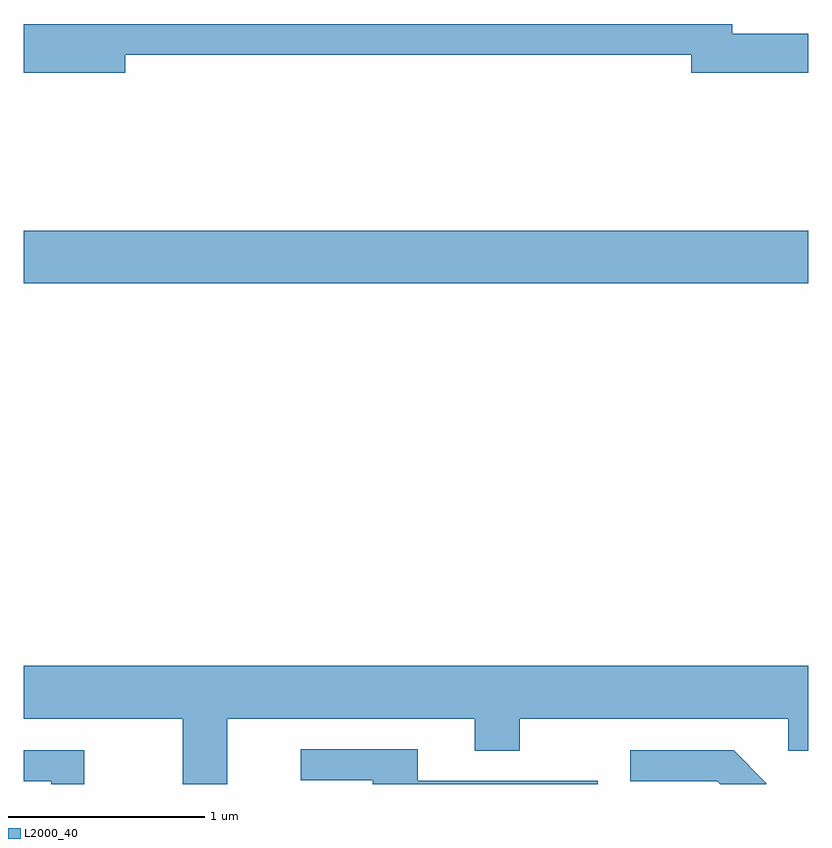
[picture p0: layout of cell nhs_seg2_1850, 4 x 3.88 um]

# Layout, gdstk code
import gdstk
lib = gdstk.Library(unit=1e-6, precision=1e-09)
def R(c, l, rs):  # rectangles x0, y0, x1, y1
    for r in rs: c.add(gdstk.rectangle(r[:2], r[2:], *l))
def P(c, l, *ps):  # polygons
    for p in ps: c.add(gdstk.Polygon(p, *l))
L2000_40 = (2000, 40)

nhs_seg2_1850 = lib.new_cell('nhs_seg2_1850')
R(nhs_seg2_1850, L2000_40, [(239.611,1008.356,243.611,1008.624)])
P(nhs_seg2_1850, L2000_40, [(240.129,1009.521),(243.016,1009.521),(243.016,1009.431),(243.611,1009.431),(243.611,1009.629),(243.224,1009.629),(243.224,1009.679),(239.611,1009.679),(239.611,1009.431),(240.129,1009.431)],
  [(240.649,1006.136),(241.911,1006.136),(241.911,1005.971),(242.139,1005.971),(242.139,1006.136),(243.511,1006.136),(243.511,1005.971),(243.611,1005.971),(243.611,1006.404),(239.611,1006.404),(239.611,1006.136),(240.421,1006.136),(240.421,1005.802),(240.649,1005.802)],
  [(242.539,1005.819),(241.619,1005.819),(241.619,1005.979),(241.023,1005.979),(241.023,1005.821),(241.391,1005.821),(241.391,1005.802),(242.539,1005.802)],
  [(239.919,1005.974),(239.611,1005.974),(239.611,1005.816),(239.751,1005.816),(239.751,1005.802),(239.919,1005.802)],
  [(243.399,1005.807),(243.232,1005.974),(242.703,1005.974),(242.703,1005.816),(243.149,1005.816),(243.163,1005.802),(243.399,1005.802)])

lib.write_gds('nhs_seg2_1850.gds')
